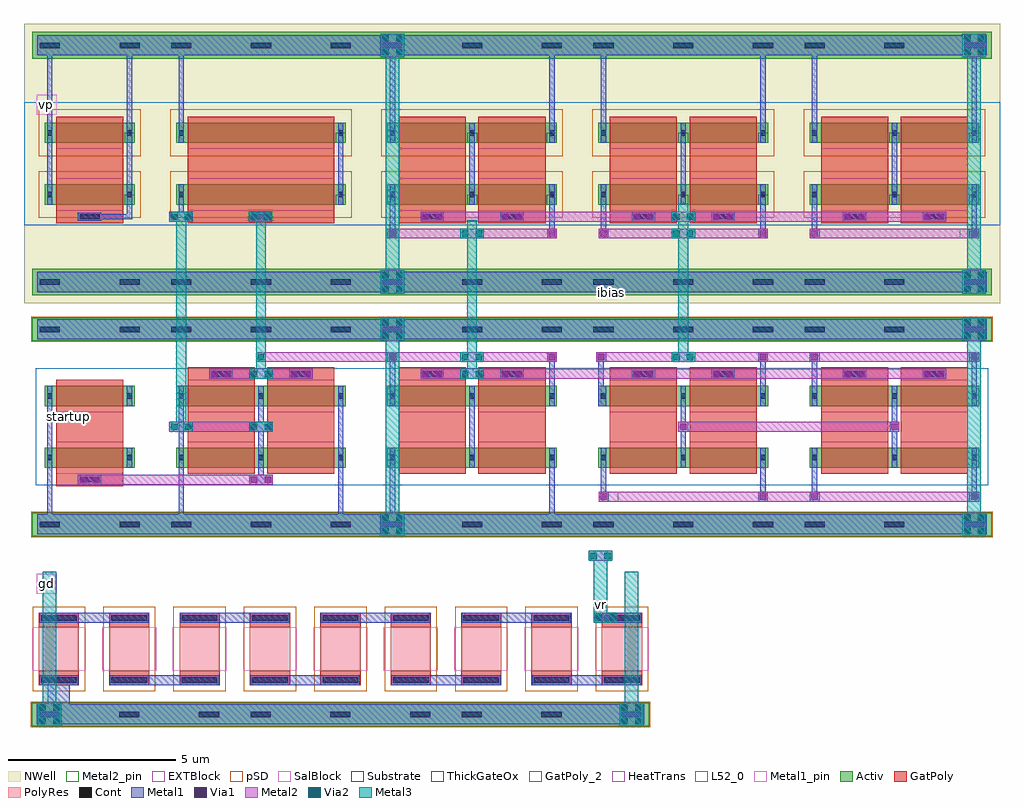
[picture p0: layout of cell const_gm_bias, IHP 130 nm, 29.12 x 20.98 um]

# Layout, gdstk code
import gdstk
lib = gdstk.Library(unit=1e-6, precision=1e-09)
def R(c, l, rs):  # rectangles x0, y0, x1, y1
    for r in rs: c.add(gdstk.rectangle(r[:2], r[2:], *l))
def A(c, l, x, y, w, h, nx, ny, dx, dy):  # array of equal rectangles
    R(c, l, [(x+i*dx, y+j*dy, x+i*dx+w, y+j*dy+h) for i in range(nx) for j in range(ny)])
Activ = (1, 0)
GatPoly = (5, 0)
GatPoly_2 = (5, 2)
Cont = (6, 0)
Metal1 = (8, 0)
Metal1_pin = (8, 2)
Metal2 = (10, 0)
Metal2_pin = (10, 2)
pSD = (14, 0)
Via1 = (19, 0)
SalBlock = (28, 0)
Via2 = (29, 0)
Metal3 = (30, 0)
NWell = (31, 0)
Substrate = (40, 0)
ThickGateOx = (44, 0)
HeatTrans = (51, 0)
L52_0 = (52, 0)
EXTBlock = (111, 0)
PolyRes = (128, 0)

nmoshv_6 = lib.new_cell('nmosHV$6')
R(nmoshv_6, Activ, [(0,0,0.3,0.3), (0,0,2.68,0.6), (2.38,0,2.68,0.3)])
R(nmoshv_6, GatPoly, [(0.34,-0.18,2.34,0.78)])
R(nmoshv_6, GatPoly_2, [(0.34,-0.18,2.34,0.78)])
R(nmoshv_6, Cont, [(0.07,0.22,0.23,0.38), (2.45,0.22,2.61,0.38)])
R(nmoshv_6, Metal1, [(0.07,0,0.23,0.6), (2.45,0,2.61,0.6)])
R(nmoshv_6, Metal1_pin, [(0.07,0,0.23,0.6), (2.45,0,2.61,0.6)])
R(nmoshv_6, ThickGateOx, [(-0.27,-0.52,2.95,1.12)])
R(nmoshv_6, HeatTrans, [(0.34,-0.18,2.34,0.78)])
nmoshv_6.add(gdstk.Label('nmosHV', (1.34,0.3), layer=63, texttype=0))
nmoshv_6.add(gdstk.Label('nmosHV', (1.34,0.3), layer=51, texttype=0))

via_stack = lib.new_cell('via_stack')
R(via_stack, Metal1, [(-0.35,-0.145,0.35,0.145)])
R(via_stack, Metal2, [(-0.35,-0.145,0.35,0.145)])
R(via_stack, Via1, [(-0.3,-0.095,-0.11,0.095), (0.11,-0.095,0.3,0.095)])

via_stack_1 = lib.new_cell('via_stack$1')
R(via_stack_1, Metal1, [(-0.145,-0.145,0.145,0.145)])
R(via_stack_1, Metal2, [(-0.145,-0.145,0.145,0.145)])
R(via_stack_1, Via1, [(-0.095,-0.095,0.095,0.095)])

via_stack_2 = lib.new_cell('via_stack$2')
R(via_stack_2, Metal2, [(-0.35,-0.145,0.35,0.145)])
R(via_stack_2, Via2, [(-0.3,-0.095,-0.11,0.095), (0.11,-0.095,0.3,0.095)])
R(via_stack_2, Metal3, [(-0.35,-0.145,0.35,0.145)])

via_stack_4 = lib.new_cell('via_stack$4')
R(via_stack_4, Metal1, [(-0.35,-0.35,0.35,0.35)])
R(via_stack_4, Metal2, [(-0.35,-0.35,0.35,0.35)])
R(via_stack_4, Via1, [(-0.3,-0.3,-0.11,-0.11), (0.11,-0.3,0.3,-0.11), (-0.3,0.11,-0.11,0.3), (0.11,0.11,0.3,0.3)])
R(via_stack_4, Via2, [(-0.3,-0.3,-0.11,-0.11), (0.11,-0.3,0.3,-0.11), (-0.3,0.11,-0.11,0.3), (0.11,0.11,0.3,0.3)])
R(via_stack_4, Metal3, [(-0.35,-0.35,0.35,0.35)])

pmoshv_6 = lib.new_cell('pmosHV$6')
R(pmoshv_6, Activ, [(0,0,0.3,0.3), (0,0,2.68,0.6), (2.38,0,2.68,0.3)])
R(pmoshv_6, GatPoly, [(0.34,-0.18,2.34,0.78)])
R(pmoshv_6, GatPoly_2, [(0.34,-0.18,2.34,0.78)])
R(pmoshv_6, Cont, [(0.07,0.22,0.23,0.38), (2.45,0.22,2.61,0.38)])
R(pmoshv_6, Metal1, [(0.07,0,0.23,0.6), (2.45,0,2.61,0.6)])
R(pmoshv_6, Metal1_pin, [(0.07,0,0.23,0.6), (2.45,0,2.61,0.6)])
R(pmoshv_6, pSD, [(-0.18,-0.4,2.86,1)])
R(pmoshv_6, NWell, [(-0.62,-0.62,3.3,1.22)])
R(pmoshv_6, Substrate, [(2.38,0,2.68,0.3)])
R(pmoshv_6, ThickGateOx, [(-0.62,-0.62,3.3,1.22)])
R(pmoshv_6, HeatTrans, [(0.34,-0.18,2.34,0.78)])
pmoshv_6.add(gdstk.Label('pmosHV', (1.34,0.3), layer=63, texttype=0))
pmoshv_6.add(gdstk.Label('pmos', (1.34,0.3), layer=51, texttype=0))

pmoshv_8 = lib.new_cell('pmosHV$8')
R(pmoshv_8, Activ, [(0,0,0.3,0.3), (0,0,5.06,0.6), (4.76,0,5.06,0.3)])
R(pmoshv_8, GatPoly, [(0.34,-0.18,4.72,0.78)])
R(pmoshv_8, GatPoly_2, [(0.34,-0.18,4.72,0.78)])
R(pmoshv_8, Cont, [(0.07,0.22,0.23,0.38), (4.83,0.22,4.99,0.38)])
R(pmoshv_8, Metal1, [(0.07,0,0.23,0.6), (4.83,0,4.99,0.6)])
R(pmoshv_8, Metal1_pin, [(0.07,0,0.23,0.6), (4.83,0,4.99,0.6)])
R(pmoshv_8, pSD, [(-0.18,-0.4,5.24,1)])
R(pmoshv_8, NWell, [(-0.62,-0.62,5.68,1.22)])
R(pmoshv_8, Substrate, [(4.76,0,5.06,0.3)])
R(pmoshv_8, ThickGateOx, [(-0.62,-0.62,5.68,1.22)])
R(pmoshv_8, HeatTrans, [(0.34,-0.18,4.72,0.78)])
pmoshv_8.add(gdstk.Label('pmosHV', (2.53,0.3), layer=63, texttype=0))
pmoshv_8.add(gdstk.Label('pmos', (2.53,0.3), layer=51, texttype=0))

via_stack_3 = lib.new_cell('via_stack$3')
R(via_stack_3, Metal1, [(-0.35,-0.145,0.35,0.145)])
R(via_stack_3, Metal2, [(-0.35,-0.145,0.35,0.145)])
R(via_stack_3, Via1, [(-0.3,-0.095,-0.11,0.095), (0.11,-0.095,0.3,0.095)])
R(via_stack_3, Via2, [(-0.3,-0.095,-0.11,0.095), (0.11,-0.095,0.3,0.095)])
R(via_stack_3, Metal3, [(-0.35,-0.145,0.35,0.145)])

via_stack_6 = lib.new_cell('via_stack$6')
R(via_stack_6, Metal2, [(-0.145,-0.145,0.145,0.145)])
R(via_stack_6, Via2, [(-0.095,-0.095,0.095,0.095)])
R(via_stack_6, Metal3, [(-0.145,-0.145,0.145,0.145)])

const_gm_bias_core = lib.new_cell('const_gm_bias_core')
A(const_gm_bias_core, Cont, 4.4, 0.44, 0.6, 0.16, 3, 2, 2.38, 5.82)
A(const_gm_bias_core, Cont, 10.7, 0.44, 0.6, 0.16, 3, 2, 2.38, 5.82)
A(const_gm_bias_core, Cont, 17, 0.44, 0.6, 0.16, 3, 2, 2.38, 5.82)
A(const_gm_bias_core, Cont, 23.3, 0.44, 0.6, 0.16, 3, 2, 2.38, 5.82)
A(const_gm_bias_core, Cont, 4.4, 7.68, 0.6, 0.16, 3, 2, 2.38, 7.06)
A(const_gm_bias_core, Cont, 10.7, 7.68, 0.6, 0.16, 3, 2, 2.38, 7.06)
A(const_gm_bias_core, Cont, 17, 7.68, 0.6, 0.16, 3, 2, 2.38, 7.06)
A(const_gm_bias_core, Cont, 23.3, 7.68, 0.6, 0.16, 3, 2, 2.38, 7.06)
A(const_gm_bias_core, Cont, 1.67, 9.625, 0.6, 0.16, 3, 1, 5.11, 0)
R(const_gm_bias_core, Cont, [(0.48,0.44,1.08,0.6), (2.86,0.44,3.46,0.6), (1.67,1.78,2.27,1.94), (5.59,4.94,6.19,5.1), (7.97,4.94,8.57,5.1), (11.89,4.94,12.49,5.1), (14.27,4.94,14.87,5.1), (18.19,4.94,18.79,5.1), (20.57,4.94,21.17,5.1), (24.49,4.94,25.09,5.1), (26.87,4.94,27.47,5.1), (0.48,6.26,1.08,6.42), (2.86,6.26,3.46,6.42), (0.48,7.68,1.08,7.84), (2.86,7.68,3.46,7.84), (14.27,9.625,14.87,9.785), (18.19,9.625,18.79,9.785), (20.57,9.625,21.17,9.785), (24.49,9.625,25.09,9.785), (26.87,9.625,27.47,9.785), (0.48,14.74,1.08,14.9), (2.86,14.74,3.46,14.9)])
R(const_gm_bias_core, Metal1, [(1.62,9.58,2.32,9.83)])
R(const_gm_bias_core, Metal1_pin, [(10.62,0.23,11.22,0.83), (10.62,14.52,11.22,15.12)])
R(const_gm_bias_core, Metal2_pin, [(17.445,1.21,17.735,1.5), (27.925,9.06,28.215,9.35)])
R(const_gm_bias_core, NWell, [(0.01,7.12,29.13,9.7), (0.01,13.13,29.13,15.46)])
R(const_gm_bias_core, ThickGateOx, [(0.36,1.7,28.78,5.18)])
const_gm_bias_core.add(gdstk.FlexPath([(0.4,14.82),(28.74,14.82)], 0.6, ends="flush", simple_path=True, layer=8, datatype=0))  # Metal1
const_gm_bias_core.add(gdstk.FlexPath([(0.4,7.76),(28.74,7.76)], 0.6, ends="flush", simple_path=True, layer=8, datatype=0))  # Metal1
const_gm_bias_core.add(gdstk.FlexPath([(0.4,6.35),(28.74,6.35)], 0.6, ends="flush", simple_path=True, layer=8, datatype=0))  # Metal1
const_gm_bias_core.add(gdstk.FlexPath([(9.46,10.07),(9.46,12.51)], 0.16, ends="flush", simple_path=True, layer=8, datatype=0))  # Metal1
const_gm_bias_core.add(gdstk.FlexPath([(4.7,10.67),(4.7,9.56)], 0.16, ends="flush", simple_path=True, layer=8, datatype=0))  # Metal1
const_gm_bias_core.add(gdstk.FlexPath([(4.7,11.91),(4.7,15.12)], 0.16, ends="flush", simple_path=True, layer=8, datatype=0))  # Metal1
const_gm_bias_core.add(gdstk.FlexPath([(3.16,10.07),(3.16,15.12)], 0.16, ends="flush", simple_path=True, layer=8, datatype=0))  # Metal1
const_gm_bias_core.add(gdstk.FlexPath([(0.78,10.07),(0.78,15.12)], 0.16, ends="flush", simple_path=True, layer=8, datatype=0))  # Metal1
const_gm_bias_core.add(gdstk.FlexPath([(1.67,9.705),(3.16,9.705),(3.16,10.07)], 0.16, ends="flush", simple_path=True, layer=8, datatype=0))  # Metal1
const_gm_bias_core.add(gdstk.FlexPath([(7.08,1.715),(7.08,4.66)], 0.16, ends="flush", simple_path=True, layer=8, datatype=0))  # Metal1
const_gm_bias_core.add(gdstk.FlexPath([(4.7,4.66),(4.7,0.23)], 0.16, ends="flush", simple_path=True, layer=8, datatype=0))  # Metal1
const_gm_bias_core.add(gdstk.FlexPath([(9.46,4.66),(9.46,0.23)], 0.16, ends="flush", simple_path=True, layer=8, datatype=0))  # Metal1
const_gm_bias_core.add(gdstk.FlexPath([(0.78,4.66),(0.78,0.23)], 0.16, ends="flush", simple_path=True, layer=8, datatype=0))  # Metal1
const_gm_bias_core.add(gdstk.FlexPath([(0.4,0.53),(28.74,0.53)], 0.6, ends="flush", simple_path=True, layer=8, datatype=0))  # Metal1
const_gm_bias_core.add(gdstk.FlexPath([(13.38,4.66),(13.38,2.22)], 0.16, ends="flush", simple_path=True, layer=8, datatype=0))  # Metal1
const_gm_bias_core.add(gdstk.FlexPath([(19.68,4.66),(19.68,2.22)], 0.16, ends="flush", simple_path=True, layer=8, datatype=0))  # Metal1
const_gm_bias_core.add(gdstk.FlexPath([(25.98,4.66),(25.98,2.22)], 0.16, ends="flush", simple_path=True, layer=8, datatype=0))  # Metal1
const_gm_bias_core.add(gdstk.FlexPath([(11,4.06),(11,5.67)], 0.16, ends="flush", simple_path=True, layer=8, datatype=0))  # Metal1
const_gm_bias_core.add(gdstk.FlexPath([(15.76,4.06),(15.76,5.67)], 0.16, ends="flush", simple_path=True, layer=8, datatype=0))  # Metal1
const_gm_bias_core.add(gdstk.FlexPath([(17.23,4.06),(17.23,5.67)], 0.16, ends="flush", simple_path=True, layer=8, datatype=0))  # Metal1
const_gm_bias_core.add(gdstk.FlexPath([(22.06,4.06),(22.06,5.67)], 0.16, ends="flush", simple_path=True, layer=8, datatype=0))  # Metal1
const_gm_bias_core.add(gdstk.FlexPath([(23.6,4.06),(23.6,5.67)], 0.16, ends="flush", simple_path=True, layer=8, datatype=0))  # Metal1
const_gm_bias_core.add(gdstk.FlexPath([(28.36,4.06),(28.36,5.67)], 0.16, ends="flush", simple_path=True, layer=8, datatype=0))  # Metal1
const_gm_bias_core.add(gdstk.FlexPath([(11,2.82),(11,0.23)], 0.16, ends="flush", simple_path=True, layer=8, datatype=0))  # Metal1
const_gm_bias_core.add(gdstk.FlexPath([(15.76,2.82),(15.76,0.23)], 0.16, ends="flush", simple_path=True, layer=8, datatype=0))  # Metal1
const_gm_bias_core.add(gdstk.FlexPath([(17.3,2.82),(17.3,1.21)], 0.16, ends="flush", simple_path=True, layer=8, datatype=0))  # Metal1
const_gm_bias_core.add(gdstk.FlexPath([(22.06,2.82),(22.06,1.21)], 0.16, ends="flush", simple_path=True, layer=8, datatype=0))  # Metal1
const_gm_bias_core.add(gdstk.FlexPath([(23.6,2.82),(23.6,1.21)], 0.16, ends="flush", simple_path=True, layer=8, datatype=0))  # Metal1
const_gm_bias_core.add(gdstk.FlexPath([(28.36,2.82),(28.36,1.21)], 0.16, ends="flush", simple_path=True, layer=8, datatype=0))  # Metal1
const_gm_bias_core.add(gdstk.FlexPath([(28.36,11.91),(28.36,15.17)], 0.16, ends="flush", simple_path=True, layer=8, datatype=0))  # Metal1
const_gm_bias_core.add(gdstk.FlexPath([(23.6,11.91),(23.6,15.12)], 0.16, ends="flush", simple_path=True, layer=8, datatype=0))  # Metal1
const_gm_bias_core.add(gdstk.FlexPath([(22.06,11.91),(22.06,15.12)], 0.16, ends="flush", simple_path=True, layer=8, datatype=0))  # Metal1
const_gm_bias_core.add(gdstk.FlexPath([(17.3,11.91),(17.3,15.12)], 0.16, ends="flush", simple_path=True, layer=8, datatype=0))  # Metal1
const_gm_bias_core.add(gdstk.FlexPath([(15.76,11.91),(15.76,15.12)], 0.16, ends="flush", simple_path=True, layer=8, datatype=0))  # Metal1
const_gm_bias_core.add(gdstk.FlexPath([(11,11.91),(11,15.17)], 0.16, ends="flush", simple_path=True, layer=8, datatype=0))  # Metal1
const_gm_bias_core.add(gdstk.FlexPath([(28.36,10.67),(28.36,9.06)], 0.16, ends="flush", simple_path=True, layer=8, datatype=0))  # Metal1
const_gm_bias_core.add(gdstk.FlexPath([(23.6,10.67),(23.6,9.06)], 0.16, ends="flush", simple_path=True, layer=8, datatype=0))  # Metal1
const_gm_bias_core.add(gdstk.FlexPath([(25.98,12.51),(25.98,10.07)], 0.16, ends="flush", simple_path=True, layer=8, datatype=0))  # Metal1
const_gm_bias_core.add(gdstk.FlexPath([(22.06,10.67),(22.06,9.06)], 0.16, ends="flush", simple_path=True, layer=8, datatype=0))  # Metal1
const_gm_bias_core.add(gdstk.FlexPath([(17.3,10.67),(17.3,9.06)], 0.16, ends="flush", simple_path=True, layer=8, datatype=0))  # Metal1
const_gm_bias_core.add(gdstk.FlexPath([(15.76,10.67),(15.76,9.06)], 0.16, ends="flush", simple_path=True, layer=8, datatype=0))  # Metal1
const_gm_bias_core.add(gdstk.FlexPath([(11,10.67),(11,9.06)], 0.16, ends="flush", simple_path=True, layer=8, datatype=0))  # Metal1
const_gm_bias_core.add(gdstk.FlexPath([(19.68,12.51),(19.68,10.07)], 0.16, ends="flush", simple_path=True, layer=8, datatype=0))  # Metal1
const_gm_bias_core.add(gdstk.FlexPath([(13.38,12.51),(13.38,10.07)], 0.16, ends="flush", simple_path=True, layer=8, datatype=0))  # Metal1
const_gm_bias_core.add(gdstk.FlexPath([(0.25,14.82),(28.89,14.82)], 0.8, ends="flush", simple_path=True, layer=1, datatype=0))  # Activ
const_gm_bias_core.add(gdstk.FlexPath([(0.25,7.76),(28.89,7.76)], 0.8, ends="flush", simple_path=True, layer=1, datatype=0))  # Activ
const_gm_bias_core.add(gdstk.FlexPath([(0.25,6.35),(28.89,6.35)], 0.7, ends="flush", simple_path=True, layer=1, datatype=0))  # Activ
const_gm_bias_core.add(gdstk.FlexPath([(0.25,0.53),(28.89,0.53)], 0.7, ends="flush", simple_path=True, layer=1, datatype=0))  # Activ
const_gm_bias_core.add(gdstk.FlexPath([(1.97,12.69),(1.97,9.52)], 2, ends="flush", simple_path=True, layer=5, datatype=0))  # GatPoly
const_gm_bias_core.add(gdstk.FlexPath([(8.27,2.04),(8.27,5.21)], 2, ends="flush", simple_path=True, layer=5, datatype=0))  # GatPoly
const_gm_bias_core.add(gdstk.FlexPath([(5.89,2.04),(5.89,5.21)], 2, ends="flush", simple_path=True, layer=5, datatype=0))  # GatPoly
const_gm_bias_core.add(gdstk.FlexPath([(1.97,4.84),(1.97,1.67)], 2, ends="flush", simple_path=True, layer=5, datatype=0))  # GatPoly
const_gm_bias_core.add(gdstk.FlexPath([(7.08,12.69),(7.08,9.52)], 4.38, ends="flush", simple_path=True, layer=5, datatype=0))  # GatPoly
const_gm_bias_core.add(gdstk.FlexPath([(27.17,2.04),(27.17,5.21)], 2, ends="flush", simple_path=True, layer=5, datatype=0))  # GatPoly
const_gm_bias_core.add(gdstk.FlexPath([(24.79,2.04),(24.79,5.21)], 2, ends="flush", simple_path=True, layer=5, datatype=0))  # GatPoly
const_gm_bias_core.add(gdstk.FlexPath([(20.87,2.04),(20.87,5.21)], 2, ends="flush", simple_path=True, layer=5, datatype=0))  # GatPoly
const_gm_bias_core.add(gdstk.FlexPath([(18.49,2.04),(18.49,5.21)], 2, ends="flush", simple_path=True, layer=5, datatype=0))  # GatPoly
const_gm_bias_core.add(gdstk.FlexPath([(14.57,2.04),(14.57,5.21)], 2, ends="flush", simple_path=True, layer=5, datatype=0))  # GatPoly
const_gm_bias_core.add(gdstk.FlexPath([(12.19,2.04),(12.19,5.21)], 2, ends="flush", simple_path=True, layer=5, datatype=0))  # GatPoly
const_gm_bias_core.add(gdstk.FlexPath([(12.19,12.69),(12.19,9.52)], 2, ends="flush", simple_path=True, layer=5, datatype=0))  # GatPoly
const_gm_bias_core.add(gdstk.FlexPath([(14.57,12.69),(14.57,9.52)], 2, ends="flush", simple_path=True, layer=5, datatype=0))  # GatPoly
const_gm_bias_core.add(gdstk.FlexPath([(18.49,12.69),(18.49,9.52)], 2, ends="flush", simple_path=True, layer=5, datatype=0))  # GatPoly
const_gm_bias_core.add(gdstk.FlexPath([(20.87,12.69),(20.87,9.52)], 2, ends="flush", simple_path=True, layer=5, datatype=0))  # GatPoly
const_gm_bias_core.add(gdstk.FlexPath([(24.79,12.69),(24.79,9.52)], 2, ends="flush", simple_path=True, layer=5, datatype=0))  # GatPoly
const_gm_bias_core.add(gdstk.FlexPath([(27.17,12.69),(27.17,9.52)], 2, ends="flush", simple_path=True, layer=5, datatype=0))  # GatPoly
const_gm_bias_core.add(gdstk.FlexPath([(0.22,6.35),(28.92,6.35)], 0.76, ends="flush", simple_path=True, layer=14, datatype=0))  # pSD
const_gm_bias_core.add(gdstk.FlexPath([(0.22,0.53),(28.92,0.53)], 0.76, ends="flush", simple_path=True, layer=14, datatype=0))  # pSD
const_gm_bias_core.add(gdstk.FlexPath([(1.62,1.86),(7.43,1.86)], 0.29, ends="flush", simple_path=True, layer=10, datatype=0))  # Metal2
const_gm_bias_core.add(gdstk.FlexPath([(5.54,5.02),(8.62,5.02)], 0.29, ends="flush", simple_path=True, layer=10, datatype=0))  # Metal2
const_gm_bias_core.add(gdstk.FlexPath([(6.935,5.525),(15.905,5.525)], 0.29, ends="flush", simple_path=True, layer=10, datatype=0))  # Metal2
const_gm_bias_core.add(gdstk.FlexPath([(7.43,3.44),(4.35,3.44)], 0.29, ends="flush", simple_path=True, layer=10, datatype=0))  # Metal2
const_gm_bias_core.add(gdstk.FlexPath([(11.84,5.02),(27.52,5.02)], 0.29, ends="flush", simple_path=True, layer=10, datatype=0))  # Metal2
const_gm_bias_core.add(gdstk.FlexPath([(17.085,5.525),(28.505,5.525)], 0.29, ends="flush", simple_path=True, layer=10, datatype=0))  # Metal2
const_gm_bias_core.add(gdstk.FlexPath([(17.155,1.355),(28.505,1.355)], 0.29, ends="flush", simple_path=True, layer=10, datatype=0))  # Metal2
const_gm_bias_core.add(gdstk.FlexPath([(26.125,3.44),(19.535,3.44)], 0.29, ends="flush", simple_path=True, layer=10, datatype=0))  # Metal2
const_gm_bias_core.add(gdstk.FlexPath([(23.455,9.205),(28.505,9.205)], 0.29, ends="flush", simple_path=True, layer=10, datatype=0))  # Metal2
const_gm_bias_core.add(gdstk.FlexPath([(17.155,9.205),(22.205,9.205)], 0.29, ends="flush", simple_path=True, layer=10, datatype=0))  # Metal2
const_gm_bias_core.add(gdstk.FlexPath([(10.855,9.205),(15.905,9.205)], 0.29, ends="flush", simple_path=True, layer=10, datatype=0))  # Metal2
const_gm_bias_core.add(gdstk.FlexPath([(11.84,9.705),(27.52,9.705)], 0.29, ends="flush", simple_path=True, layer=10, datatype=0))  # Metal2
const_gm_bias_core.add(gdstk.FlexPath([(7.08,4.875),(7.08,9.85)], 0.29, ends="flush", simple_path=True, layer=30, datatype=0))  # Metal3
const_gm_bias_core.add(gdstk.FlexPath([(4.7,3.295),(4.7,9.85)], 0.29, ends="flush", simple_path=True, layer=30, datatype=0))  # Metal3
const_gm_bias_core.add(gdstk.FlexPath([(13.38,4.875),(13.38,9.6)], 0.29, ends="flush", simple_path=True, layer=30, datatype=0))  # Metal3
const_gm_bias_core.add(gdstk.FlexPath([(19.68,5.38),(19.68,10.1)], 0.29, ends="flush", simple_path=True, layer=30, datatype=0))  # Metal3
const_gm_bias_core.add(gdstk.FlexPath([(11,0.18),(11,6.7)], 0.4, ends="flush", simple_path=True, layer=30, datatype=0))  # Metal3
const_gm_bias_core.add(gdstk.FlexPath([(28.36,0.18),(28.36,6.7)], 0.4, ends="flush", simple_path=True, layer=30, datatype=0))  # Metal3
const_gm_bias_core.add(gdstk.FlexPath([(11,7.41),(11,15.17)], 0.4, ends="flush", simple_path=True, layer=30, datatype=0))  # Metal3
const_gm_bias_core.add(gdstk.FlexPath([(28.36,7.41),(28.36,15.17)], 0.4, ends="flush", simple_path=True, layer=30, datatype=0))  # Metal3
const_gm_bias_core.add(gdstk.Reference(nmoshv_6, (10.85,4.06)))
const_gm_bias_core.add(gdstk.Reference(nmoshv_6, (17.15,4.06)))
const_gm_bias_core.add(gdstk.Reference(nmoshv_6, (17.15,2.22)))
const_gm_bias_core.add(gdstk.Reference(nmoshv_6, (19.53,4.06)))
const_gm_bias_core.add(gdstk.Reference(nmoshv_6, (19.53,2.22)))
const_gm_bias_core.add(gdstk.Reference(nmoshv_6, (23.45,4.06)))
const_gm_bias_core.add(gdstk.Reference(nmoshv_6, (23.45,2.22)))
const_gm_bias_core.add(gdstk.Reference(nmoshv_6, (25.83,4.06)))
const_gm_bias_core.add(gdstk.Reference(nmoshv_6, (25.83,2.22)))
const_gm_bias_core.add(gdstk.Reference(via_stack, (27.17,5.02)))
const_gm_bias_core.add(gdstk.Reference(via_stack, (24.79,5.02)))
const_gm_bias_core.add(gdstk.Reference(via_stack, (20.87,5.02)))
const_gm_bias_core.add(gdstk.Reference(via_stack, (18.49,5.02)))
const_gm_bias_core.add(gdstk.Reference(via_stack, (14.57,5.02)))
const_gm_bias_core.add(gdstk.Reference(via_stack, (12.19,5.02)))
const_gm_bias_core.add(gdstk.Reference(via_stack_1, (15.76,5.525)))
const_gm_bias_core.add(gdstk.Reference(via_stack_1, (17.23,5.525)))
const_gm_bias_core.add(gdstk.Reference(via_stack_1, (22.06,5.525)))
const_gm_bias_core.add(gdstk.Reference(via_stack_1, (23.6,5.525)))
const_gm_bias_core.add(gdstk.Reference(via_stack_1, (28.36,5.525)))
const_gm_bias_core.add(gdstk.Reference(via_stack_2, (13.38,5.525)))
const_gm_bias_core.add(gdstk.Reference(via_stack_2, (19.68,5.525)))
const_gm_bias_core.add(gdstk.Reference(via_stack_2, (13.38,5.02)))
const_gm_bias_core.add(gdstk.Reference(via_stack_4, (11,6.35)))
const_gm_bias_core.add(gdstk.Reference(via_stack_4, (11,0.53)))
const_gm_bias_core.add(gdstk.Reference(via_stack_4, (28.36,6.35)))
const_gm_bias_core.add(gdstk.Reference(via_stack_4, (28.36,0.53)))
const_gm_bias_core.add(gdstk.Reference(via_stack_4, (11,7.76)))
const_gm_bias_core.add(gdstk.Reference(via_stack_4, (28.36,7.76)))
const_gm_bias_core.add(gdstk.Reference(via_stack_1, (19.68,3.44)))
const_gm_bias_core.add(gdstk.Reference(via_stack_1, (25.98,3.44)))
const_gm_bias_core.add(gdstk.Reference(via_stack_1, (17.3,1.355)))
const_gm_bias_core.add(gdstk.Reference(via_stack_1, (22.06,1.355)))
const_gm_bias_core.add(gdstk.Reference(via_stack_1, (23.6,1.355)))
const_gm_bias_core.add(gdstk.Reference(via_stack_1, (28.36,1.355)))
const_gm_bias_core.add(gdstk.Reference(via_stack_4, (11,14.82)))
const_gm_bias_core.add(gdstk.Reference(via_stack_4, (28.36,14.82)))
const_gm_bias_core.add(gdstk.Reference(via_stack_2, (19.68,9.705)))
const_gm_bias_core.add(gdstk.Reference(via_stack_2, (19.68,9.205)))
const_gm_bias_core.add(gdstk.Reference(via_stack_2, (13.38,9.205)))
const_gm_bias_core.add(gdstk.Reference(via_stack_1, (28.36,9.205)))
const_gm_bias_core.add(gdstk.Reference(via_stack_1, (23.6,9.205)))
const_gm_bias_core.add(gdstk.Reference(via_stack_1, (22.06,9.205)))
const_gm_bias_core.add(gdstk.Reference(via_stack_1, (17.3,9.205)))
const_gm_bias_core.add(gdstk.Reference(via_stack_1, (15.76,9.205)))
const_gm_bias_core.add(gdstk.Reference(via_stack_1, (11,9.205)))
const_gm_bias_core.add(gdstk.Reference(via_stack, (12.19,9.705), x_reflection=True))
const_gm_bias_core.add(gdstk.Reference(via_stack, (14.57,9.705), x_reflection=True))
const_gm_bias_core.add(gdstk.Reference(via_stack, (18.49,9.705), x_reflection=True))
const_gm_bias_core.add(gdstk.Reference(via_stack, (20.87,9.705), x_reflection=True))
const_gm_bias_core.add(gdstk.Reference(via_stack, (24.79,9.705), x_reflection=True))
const_gm_bias_core.add(gdstk.Reference(via_stack, (27.17,9.705), x_reflection=True))
const_gm_bias_core.add(gdstk.Reference(pmoshv_6, (25.83,10.07)))
const_gm_bias_core.add(gdstk.Reference(pmoshv_6, (25.83,11.91)))
const_gm_bias_core.add(gdstk.Reference(pmoshv_6, (23.45,10.07)))
const_gm_bias_core.add(gdstk.Reference(pmoshv_6, (23.45,11.91)))
const_gm_bias_core.add(gdstk.Reference(pmoshv_6, (19.53,10.07)))
const_gm_bias_core.add(gdstk.Reference(pmoshv_6, (19.53,11.91)))
const_gm_bias_core.add(gdstk.Reference(pmoshv_6, (17.15,10.07)))
const_gm_bias_core.add(gdstk.Reference(pmoshv_6, (17.15,11.91)))
const_gm_bias_core.add(gdstk.Reference(pmoshv_6, (13.23,10.07)))
const_gm_bias_core.add(gdstk.Reference(pmoshv_6, (13.23,11.91)))
const_gm_bias_core.add(gdstk.Reference(pmoshv_6, (10.85,10.07)))
const_gm_bias_core.add(gdstk.Reference(pmoshv_6, (10.85,11.91)))
const_gm_bias_core.add(gdstk.Reference(via_stack_1, (11,5.525)))
const_gm_bias_core.add(gdstk.Reference(pmoshv_8, (4.55,10.07)))
const_gm_bias_core.add(gdstk.Reference(nmoshv_6, (10.85,2.22)))
const_gm_bias_core.add(gdstk.Reference(nmoshv_6, (13.23,2.22)))
const_gm_bias_core.add(gdstk.Reference(nmoshv_6, (13.23,4.06)))
const_gm_bias_core.add(gdstk.Reference(nmoshv_6, (4.55,4.06)))
const_gm_bias_core.add(gdstk.Reference(nmoshv_6, (4.55,2.22)))
const_gm_bias_core.add(gdstk.Reference(nmoshv_6, (6.93,2.22)))
const_gm_bias_core.add(gdstk.Reference(nmoshv_6, (6.93,4.06)))
const_gm_bias_core.add(gdstk.Reference(nmoshv_6, (0.63,4.06)))
const_gm_bias_core.add(gdstk.Reference(nmoshv_6, (0.63,2.22)))
const_gm_bias_core.add(gdstk.Reference(pmoshv_6, (0.63,10.07)))
const_gm_bias_core.add(gdstk.Reference(pmoshv_6, (0.63,11.91)))
const_gm_bias_core.add(gdstk.Reference(via_stack, (8.27,5.02)))
const_gm_bias_core.add(gdstk.Reference(via_stack, (5.89,5.02)))
const_gm_bias_core.add(gdstk.Reference(via_stack, (1.97,1.86), x_reflection=True))
const_gm_bias_core.add(gdstk.Reference(via_stack, (7.08,1.86), x_reflection=True))
const_gm_bias_core.add(gdstk.Reference(pmoshv_8, (4.55,11.91)))
const_gm_bias_core.add(gdstk.Reference(via_stack_3, (7.07,9.705)))
const_gm_bias_core.add(gdstk.Reference(via_stack_2, (7.08,5.02)))
const_gm_bias_core.add(gdstk.Reference(via_stack_6, (7.08,5.525)))
const_gm_bias_core.add(gdstk.Reference(via_stack_3, (4.7,9.705)))
const_gm_bias_core.add(gdstk.Reference(via_stack_2, (4.7,3.44)))
const_gm_bias_core.add(gdstk.Reference(via_stack_3, (7.08,3.44)))
const_gm_bias_core.add(gdstk.Label('res', (17.59,1.355), layer=10, texttype=25))
const_gm_bias_core.add(gdstk.Label('ibias', (28.07,9.205), layer=10, texttype=25))
const_gm_bias_core.add(gdstk.Label('gd', (10.92,0.53), layer=8, texttype=25))
const_gm_bias_core.add(gdstk.Label('vp', (10.92,14.82), layer=8, texttype=25))

rppd_11 = lib.new_cell('rppd$11')
A(rppd_11, GatPoly, 0, -0.43, 1.2, 0.23, 9, 2, 2.1, 1.93)
A(rppd_11, GatPoly, 0, -0.2, 1.2, 0.2, 9, 2, 2.1, 1.5)
A(rppd_11, Cont, 0.07, -0.36, 1.06, 0.16, 9, 2, 2.1, 1.86)
A(rppd_11, Metal1, 0.02, -0.43, 1.16, 0.3, 9, 2, 2.1, 1.86)
A(rppd_11, Metal1, 2.12, -0.43, 3.26, 0.3, 4, 1, 4.2, 0)
A(rppd_11, Metal1, 0.02, 1.43, 3.26, 0.3, 4, 1, 4.2, 0)
A(rppd_11, Metal1_pin, 0.02, -0.43, 1.16, 0.3, 9, 2, 2.1, 1.86)
A(rppd_11, pSD, -0.18, -0.61, 1.56, 0.61, 9, 2, 2.1, 1.91)
A(rppd_11, pSD, -0.18, 0, 1.56, 1.3, 9, 1, 2.1, 0)
A(rppd_11, SalBlock, -0.2, 0, 1.6, 1.3, 9, 1, 2.1, 0)
A(rppd_11, L52_0, 0, 0, 1.2, 1.3, 9, 1, 2.1, 0)
A(rppd_11, EXTBlock, -0.18, -0.61, 1.56, 0.61, 9, 2, 2.1, 1.91)
A(rppd_11, EXTBlock, -0.2, 0, 1.6, 1.3, 9, 1, 2.1, 0)
A(rppd_11, PolyRes, 0, 0, 1.2, 1.3, 9, 1, 2.1, 0)
rppd_11.add(gdstk.Label('rppd r=338.599', (0.6,0.65), layer=63, texttype=0))
rppd_11.add(gdstk.Label('rppd r=338.599', (0.6,0.65), layer=63, texttype=0))
rppd_11.add(gdstk.Label('rppd r=338.599', (0.6,0.65), layer=63, texttype=0))
rppd_11.add(gdstk.Label('rppd r=338.599', (0.6,0.65), layer=63, texttype=0))
rppd_11.add(gdstk.Label('rppd r=338.599', (0.6,0.65), layer=63, texttype=0))
rppd_11.add(gdstk.Label('rppd r=338.599', (0.6,0.65), layer=63, texttype=0))
rppd_11.add(gdstk.Label('rppd r=338.599', (0.6,0.65), layer=63, texttype=0))
rppd_11.add(gdstk.Label('rppd r=338.599', (0.6,0.65), layer=63, texttype=0))
rppd_11.add(gdstk.Label('rppd r=338.599', (0.6,0.65), layer=63, texttype=0))
rppd_11.add(gdstk.Label('rppd', (0.6,0.65), layer=52, texttype=0))
rppd_11.add(gdstk.Label('rppd', (2.7,0.65), layer=52, texttype=0))
rppd_11.add(gdstk.Label('rppd', (4.8,0.65), layer=52, texttype=0))
rppd_11.add(gdstk.Label('rppd', (6.9,0.65), layer=52, texttype=0))
rppd_11.add(gdstk.Label('rppd', (9,0.65), layer=52, texttype=0))
rppd_11.add(gdstk.Label('rppd', (11.1,0.65), layer=52, texttype=0))
rppd_11.add(gdstk.Label('rppd', (13.2,0.65), layer=52, texttype=0))
rppd_11.add(gdstk.Label('rppd', (15.3,0.65), layer=52, texttype=0))
rppd_11.add(gdstk.Label('rppd', (17.4,0.65), layer=52, texttype=0))

const_gm_bias = lib.new_cell('const_gm_bias')
R(const_gm_bias, Activ, [(0.24,0.03,18.66,0.73)])
A(const_gm_bias, Cont, 0.47, 0.3, 0.6, 0.16, 3, 1, 2.38, 0)
A(const_gm_bias, Cont, 6.77, 0.3, 0.6, 0.16, 3, 1, 2.38, 0)
A(const_gm_bias, Cont, 13.07, 0.3, 0.6, 0.16, 3, 1, 2.38, 0)
R(const_gm_bias, Metal1, [(0.39,0.08,18.51,0.68)])
R(const_gm_bias, Metal1_pin, [(0.39,3.98,0.99,4.58), (0.39,18.27,0.99,18.87)])
R(const_gm_bias, Metal2_pin, [(1.205,9.13,1.495,9.42), (17.405,12.81,17.695,13.1)])
R(const_gm_bias, pSD, [(0.21,0,18.69,0.76)])
const_gm_bias.add(gdstk.FlexPath([(1.05,1.55),(1.05,0.08)], 0.66, ends="flush", simple_path=True, layer=8, datatype=0))  # Metal1
const_gm_bias.add(gdstk.FlexPath([(17.21,5.255),(17.21,3.12)], 0.4, ends="flush", simple_path=True, layer=30, datatype=0))  # Metal3
const_gm_bias.add(gdstk.FlexPath([(0.77,0.03),(0.77,4.63)], 0.4, ends="flush", simple_path=True, layer=30, datatype=0))  # Metal3
const_gm_bias.add(gdstk.FlexPath([(18.13,4.63),(18.13,0.03)], 0.4, ends="flush", simple_path=True, layer=30, datatype=0))  # Metal3
const_gm_bias.add(gdstk.Reference(const_gm_bias_core, (0,5.52)))
const_gm_bias.add(gdstk.Reference(rppd_11, (0.45,1.68)))
const_gm_bias.add(gdstk.Reference(via_stack_4, (0.77,0.38)))
const_gm_bias.add(gdstk.Reference(via_stack_4, (18.13,0.38)))
const_gm_bias.add(gdstk.Reference(via_stack_3, (17.36,3.265)))
const_gm_bias.add(gdstk.Reference(via_stack_2, (17.21,5.11)))
const_gm_bias.add(gdstk.Label('startup', (1.35,9.275), layer=10, texttype=25))
const_gm_bias.add(gdstk.Label('ibias', (17.55,12.955), layer=10, texttype=25))
const_gm_bias.add(gdstk.Label('vp', (0.69,18.57), layer=8, texttype=25))
const_gm_bias.add(gdstk.Label('gd', (0.69,4.28), layer=8, texttype=25))
const_gm_bias.add(gdstk.Label('vr', (17.21,3.67), layer=30, texttype=25))

lib.write_gds('const_gm_bias.gds')
